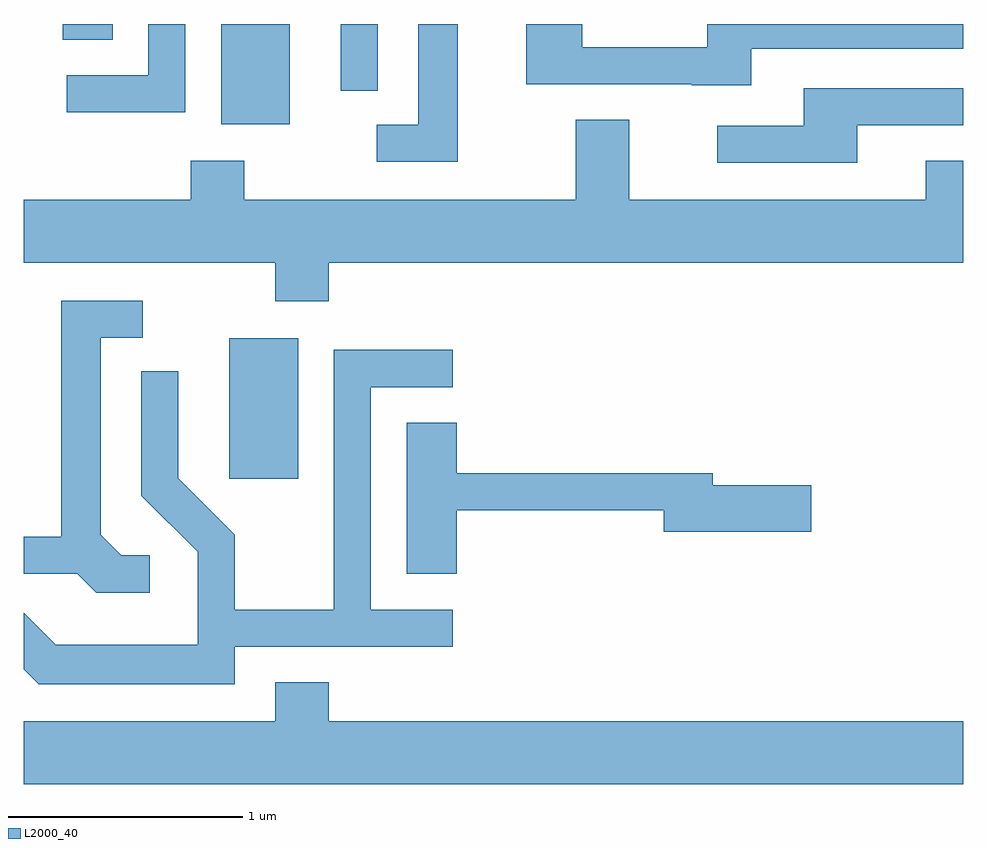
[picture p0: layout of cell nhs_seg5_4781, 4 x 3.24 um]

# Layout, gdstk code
import gdstk
lib = gdstk.Library(unit=1e-6, precision=1e-09)
def R(c, l, rs):  # rectangles x0, y0, x1, y1
    for r in rs: c.add(gdstk.rectangle(r[:2], r[2:], *l))
def P(c, l, *ps):  # polygons
    for p in ps: c.add(gdstk.Polygon(p, *l))
L2000_40 = (2000, 40)

nhs_seg5_4781 = lib.new_cell('nhs_seg5_4781')
R(nhs_seg5_4781, L2000_40, [(328.486,1418.136,328.779,1418.734), (328.451,1419.646,328.744,1420.072), (328.961,1419.788,329.119,1420.072), (327.776,1420.006,327.989,1420.072)])
P(nhs_seg5_4781, L2000_40, [(328.299,1420.072),(328.141,1420.072),(328.141,1419.854),(327.793,1419.854),(327.793,1419.696),(328.299,1419.696)],
  [(329.459,1420.072),(329.291,1420.072),(329.291,1419.644),(329.113,1419.644),(329.113,1419.486),(329.459,1419.486)],
  [(330.709,1419.966),(331.611,1419.966),(331.611,1420.072),(330.521,1420.072),(330.521,1419.974),(329.989,1419.974),(329.989,1420.072),(329.751,1420.072),(329.751,1419.816),(330.455,1419.816),(330.455,1419.811),(330.709,1419.811)],
  [(331.159,1419.641),(331.611,1419.641),(331.611,1419.799),(330.931,1419.799),(330.931,1419.639),(330.563,1419.639),(330.563,1419.481),(331.159,1419.481)],
  [(328.909,1419.056),(331.611,1419.056),(331.611,1419.489),(331.451,1419.489),(331.451,1419.324),(330.189,1419.324),(330.189,1419.664),(329.961,1419.664),(329.961,1419.324),(328.549,1419.324),(328.549,1419.489),(328.321,1419.489),(328.321,1419.324),(327.611,1419.324),(327.611,1419.056),(328.681,1419.056),(328.681,1418.891),(328.909,1418.891)],
  [(328.148,1417.809),(328.027,1417.809),(327.939,1417.897),(327.939,1418.736),(328.118,1418.736),(328.118,1418.894),(327.771,1418.894),(327.771,1417.889),(327.611,1417.889),(327.611,1417.731),(327.839,1417.731),(327.919,1417.651),(328.148,1417.651)],
  [(328.509,1417.421),(329.438,1417.421),(329.438,1417.579),(329.089,1417.579),(329.089,1418.526),(329.438,1418.526),(329.438,1418.684),(328.931,1418.684),(328.931,1417.579),(328.509,1417.579),(328.509,1417.897),(328.269,1418.137),(328.269,1418.593),(328.111,1418.593),(328.111,1418.064),(328.351,1417.824),(328.351,1417.429),(327.747,1417.429),(327.611,1417.565),(327.611,1417.324),(327.674,1417.261),(328.509,1417.261)],
  [(329.454,1418.001),(330.336,1418.001),(330.336,1417.911),(330.964,1417.911),(330.964,1418.109),(330.544,1418.109),(330.544,1418.159),(329.454,1418.159),(329.454,1418.374),(329.241,1418.374),(329.241,1417.731),(329.454,1417.731)],
  [(331.611,1417.104),(328.909,1417.104),(328.909,1417.269),(328.681,1417.269),(328.681,1417.104),(327.611,1417.104),(327.611,1416.836),(331.611,1416.836)])

lib.write_gds('nhs_seg5_4781.gds')
